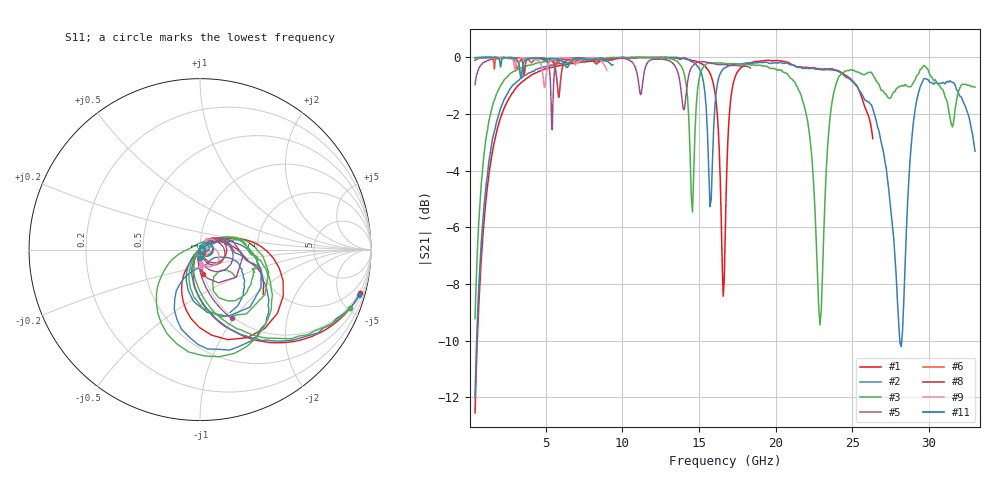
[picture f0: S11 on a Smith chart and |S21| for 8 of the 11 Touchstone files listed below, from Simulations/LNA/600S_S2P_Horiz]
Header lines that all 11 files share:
!  One Norden Lane
!  Huntington Station,  NY.  11746-2102
!  Tel:  (631) 622-4700  Fax:  (631) 622-4748
!  Description: Ultra Low ESR Microwave capacitors
!  Application: Coupling, Bypass, Tuning, DC Block
!  Filters, Matching
# GHZ S DB R 50
! Freq  |S11|  S11 Ph  |S21|  S21 Ph  |S12|  S12 Ph  |S22|  S22 Ph
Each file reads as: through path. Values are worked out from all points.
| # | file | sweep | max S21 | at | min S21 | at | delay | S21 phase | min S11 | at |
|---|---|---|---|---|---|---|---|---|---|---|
| 1 | 600S1R0.S2P | 400 MHz to 26.34 GHz | 0.00 dB | 11.12 GHz | -12.6 dB | 400 MHz | 14.4 ps | -44 deg at 13.4 GHz | -75.1 dB | 12.69 GHz |
| 2 | 600S1R1.S2P | 400 MHz to 33 GHz | 0.00 dB | 10.1 GHz | -12.0 dB | 400 MHz | 12.7 ps | -50 deg at 16.7 GHz | -49.1 dB | 12.14 GHz |
| 3 | 600S1R5.S2P | 400 MHz to 33 GHz | 0.00 dB | 9.447 GHz | -9.5 dB | 22.89 GHz | 11.9 ps | -57 deg at 16.7 GHz | -47.9 dB | 15.88 GHz |
| 4 | 600S6R2.S2P | 400 MHz to 18 GHz | 0.08 dB | 6.604 GHz | -4.2 dB | 17.25 GHz | 12.6 ps | -31 deg at 9.2 GHz | -42.7 dB | 6.736 GHz |
| 5 | 600S8R2.S2P | 400 MHz to 18.36 GHz | -0.02 dB | 3.055 GHz | -2.6 dB | 5.44 GHz | 11.2 ps | -34 deg at 9.4 GHz | -55.8 dB | 4.54 GHz |
| 6 | 600S101.S2P | 400 MHz to 9.378 GHz | -0.01 dB | 760 MHz | -0.4 dB | 3.145 GHz | 9.92 ps | -17 deg at 4.9 GHz | -56.4 dB | 3.573 GHz |
| 7 | 600S220.S2P | 400 MHz to 9.4 GHz | -0.03 dB | 1.368 GHz | -1.7 dB | 6.183 GHz | 11 ps | -18 deg at 4.9 GHz | -52.2 dB | 2.853 GHz |
| 8 | 600S270.S2P | 400 MHz to 9.4 GHz | 0.00 dB | 1.66 GHz | -1.4 dB | 5.868 GHz | 11 ps | -18 deg at 4.9 GHz | -62.5 dB | 2.448 GHz |
| 9 | 600S390.S2P | 400 MHz to 9 GHz | -0.01 dB | 895 MHz | -1.1 dB | 4.937 GHz | 11.2 ps | -20 deg at 4.7 GHz | -49.1 dB | 6.506 GHz |
| 10 | 600S560.S2P | 400 MHz to 9.378 GHz | -0.01 dB | 1.345 GHz | -0.9 dB | 4.158 GHz | 10.2 ps | -17 deg at 4.9 GHz | -47.3 dB | 2.853 GHz |
| 11 | 600S820.S2P | 400 MHz to 9.378 GHz | 0.00 dB | 1.098 GHz | -0.7 dB | 3.393 GHz | 10.3 ps | -18 deg at 4.9 GHz | -60.1 dB | 3.978 GHz |
